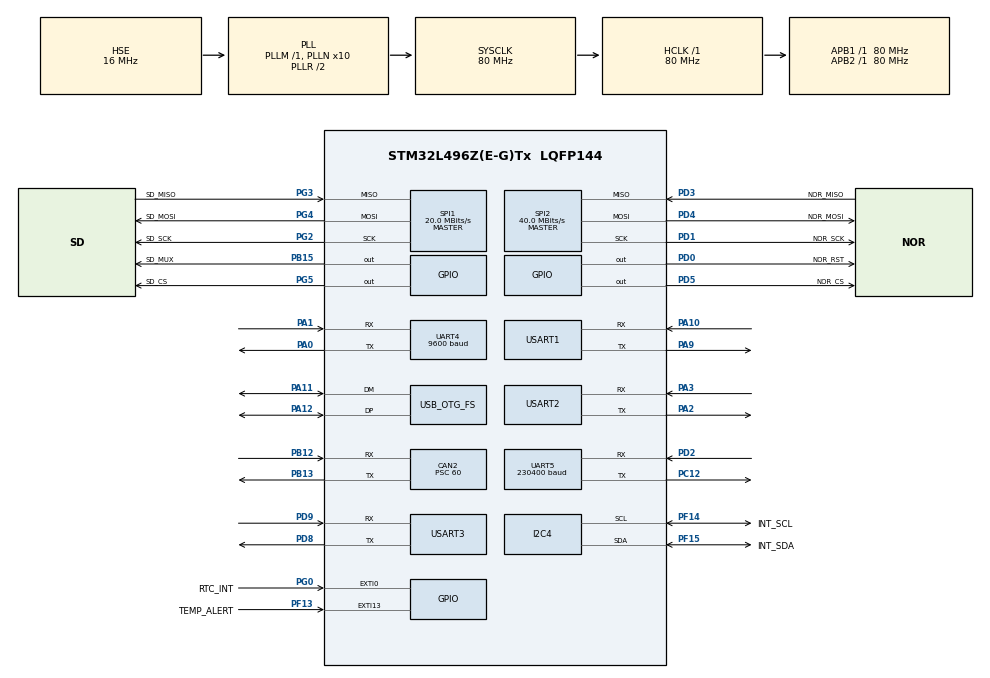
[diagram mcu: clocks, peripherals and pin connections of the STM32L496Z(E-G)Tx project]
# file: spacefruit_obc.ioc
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CAN2.BS1=CAN_BS1_2TQ
CAN2.BS2=CAN_BS2_2TQ
CAN2.CalculateBaudRate=266666
CAN2.CalculateTimeBit=3750
CAN2.CalculateTimeQuantum=750.0
CAN2.Prescaler=60
CAN2.SJW=CAN_SJW_1TQ
CAN2.TTCM=DISABLE
Dma.Request0=SPI1_RX
Dma.Request1=SPI1_TX
Dma.Request2=SPI2_RX
Dma.Request3=SPI2_TX
Dma.Request4=UART4_RX
Dma.SPI1_RX.0.Direction=DMA_PERIPH_TO_MEMORY
Dma.SPI1_RX.0.Instance=DMA1_Channel2
Dma.SPI1_RX.0.MemDataAlignment=DMA_MDATAALIGN_BYTE
Dma.SPI1_RX.0.MemInc=DMA_MINC_ENABLE
Dma.SPI1_RX.0.Mode=DMA_NORMAL
Dma.SPI1_RX.0.PeriphDataAlignment=DMA_PDATAALIGN_BYTE
Dma.SPI1_RX.0.PeriphInc=DMA_PINC_DISABLE
Dma.SPI1_RX.0.Priority=DMA_PRIORITY_LOW
Dma.SPI1_TX.1.Direction=DMA_MEMORY_TO_PERIPH
Dma.SPI1_TX.1.Instance=DMA1_Channel3
Dma.SPI1_TX.1.MemDataAlignment=DMA_MDATAALIGN_BYTE
Dma.SPI1_TX.1.MemInc=DMA_MINC_ENABLE
Dma.SPI1_TX.1.Mode=DMA_NORMAL
Dma.SPI1_TX.1.PeriphDataAlignment=DMA_PDATAALIGN_BYTE
Dma.SPI1_TX.1.PeriphInc=DMA_PINC_DISABLE
Dma.SPI1_TX.1.Priority=DMA_PRIORITY_LOW
Dma.SPI2_RX.2.Direction=DMA_PERIPH_TO_MEMORY
Dma.SPI2_RX.2.Instance=DMA1_Channel4
Dma.SPI2_RX.2.MemDataAlignment=DMA_MDATAALIGN_BYTE
Dma.SPI2_RX.2.MemInc=DMA_MINC_ENABLE
Dma.SPI2_RX.2.Mode=DMA_NORMAL
Dma.SPI2_RX.2.PeriphDataAlignment=DMA_PDATAALIGN_BYTE
Dma.SPI2_RX.2.PeriphInc=DMA_PINC_DISABLE
Dma.SPI2_RX.2.Priority=DMA_PRIORITY_LOW
Dma.SPI2_TX.3.Direction=DMA_MEMORY_TO_PERIPH
Dma.SPI2_TX.3.Instance=DMA1_Channel5
Dma.SPI2_TX.3.MemDataAlignment=DMA_MDATAALIGN_BYTE
Dma.SPI2_TX.3.MemInc=DMA_MINC_ENABLE
Dma.SPI2_TX.3.Mode=DMA_NORMAL
Dma.SPI2_TX.3.PeriphDataAlignment=DMA_PDATAALIGN_BYTE
Dma.SPI2_TX.3.PeriphInc=DMA_PINC_DISABLE
Dma.SPI2_TX.3.Priority=DMA_PRIORITY_LOW
Dma.UART4_RX.4.Direction=DMA_PERIPH_TO_MEMORY
Dma.UART4_RX.4.Instance=DMA2_Channel5
Dma.UART4_RX.4.MemDataAlignment=DMA_MDATAALIGN_BYTE
Dma.UART4_RX.4.MemInc=DMA_MINC_ENABLE
Dma.UART4_RX.4.Mode=DMA_NORMAL
Dma.UART4_RX.4.PeriphDataAlignment=DMA_PDATAALIGN_BYTE
Dma.UART4_RX.4.PeriphInc=DMA_PINC_DISABLE
Dma.UART4_RX.4.Priority=DMA_PRIORITY_LOW
FATFS._USE_LABEL=1
FATFS._USE_LFN=3
FREERTOS.Events01=epsFlag,Dynamic,NULL
FREERTOS.Mutexes01=sensorsMutex,Dynamic,NULL,Available
FREERTOS.Queues01=cdcDataQueue,128,usb_data_t,0,Static,cdcDataQueueBuffer,cdcDataQueueControlBlock;epsUartQueue,16,uint16_t,0,Dynamic,NULL,NULL;printQueue,256,uint8_t,0,Dynamic,NULL,NULL
FREERTOS.Tasks01=MainTask,24,8192,mainTask,Default,NULL,Dynamic,NULL,NULL;USBTask,48,4096,usbTask,Default,NULL,Dynamic,NULL,NULL;wdtFeed,48,128,wdtFeedTask,Default,NULL,Dynamic,NULL,NULL;sensorQuery,24,512,sensorQueryTask,Default,NULL,Dynamic,NULL,NULL;printTask,32,256,logTask,Default,NULL,Dynamic,NULL,NULL;uartRxTask,39,512,uartRx,Default,NULL,Dynamic,NULL,NULL
FREERTOS.configTOTAL_HEAP_SIZE=64000
I2C4.Timing=0x10D19CE4
IWDG.Prescaler=IWDG_PRESCALER_128
IWDG.Reload=120
Mcu.Family=STM32L4
Mcu.Name=STM32L496Z(E-G)Tx
Mcu.Package=LQFP144
NVIC.DMA1_Channel2_IRQn=true\:5\:0\:false\:false\:true\:true\:false\:true\:true
NVIC.DMA1_Channel3_IRQn=true\:5\:0\:false\:false\:true\:true\:false\:true\:true
NVIC.DMA1_Channel4_IRQn=true\:5\:0\:false\:false\:true\:true\:false\:true\:true
NVIC.DMA1_Channel5_IRQn=true\:5\:0\:false\:false\:true\:true\:false\:true\:true
NVIC.DMA2_Channel5_IRQn=true\:5\:0\:false\:false\:true\:true\:false\:true\:true
NVIC.OTG_FS_IRQn=true\:5\:0\:false\:false\:true\:true\:false\:true\:true
NVIC.PriorityGroup=NVIC_PRIORITYGROUP_4
NVIC.SPI1_IRQn=true\:5\:0\:false\:false\:true\:true\:true\:true\:true
NVIC.SPI2_IRQn=true\:5\:0\:false\:false\:true\:true\:true\:true\:true
NVIC.TIM1_UP_TIM16_IRQn=true\:15\:0\:false\:false\:true\:false\:false\:true\:true
NVIC.TimeBase=TIM1_UP_TIM16_IRQn
NVIC.TimeBaseIP=TIM1
NVIC.UART4_IRQn=true\:5\:0\:false\:false\:true\:true\:true\:true\:true
NVIC.USART2_IRQn=true\:5\:0\:false\:false\:true\:true\:true\:true\:true
PA0.Mode=Asynchronous
PA0.Signal=UART4_TX
PA1.Mode=Asynchronous
PA1.Signal=UART4_RX
PA10.Mode=Asynchronous
PA10.Signal=USART1_RX
PA11.Mode=Device_Only
PA11.Signal=USB_OTG_FS_DM
PA12.Mode=Device_Only
PA12.Signal=USB_OTG_FS_DP
PA13\ (JTMS/SWDIO).Mode=Serial_Wire
PA13\ (JTMS/SWDIO).Signal=SYS_JTMS-SWDIO
PA14\ (JTCK/SWCLK).Mode=Serial_Wire
PA14\ (JTCK/SWCLK).Signal=SYS_JTCK-SWCLK
PA2.Mode=Asynchronous
PA2.Signal=USART2_TX
PA3.Mode=Asynchronous
PA3.Signal=USART2_RX
PA9.Mode=Asynchronous
PA9.Signal=USART1_TX
PB12.Mode=CAN_Activate
PB12.Signal=CAN2_RX
PB13.Mode=CAN_Activate
PB13.Signal=CAN2_TX
PB15.GPIO_Label=SD_MUX
PB15.Signal=GPIO_Output
PC12.Mode=Asynchronous
PC12.Signal=UART5_TX
PC14-OSC32_IN\ (PC14).Mode=LSE-External-Oscillator
PC14-OSC32_IN\ (PC14).Signal=RCC_OSC32_IN
PC15-OSC32_OUT\ (PC15).Mode=LSE-External-Oscillator
PC15-OSC32_OUT\ (PC15).Signal=RCC_OSC32_OUT
PD0.GPIO_Label=NOR_RST
PD0.PinState=GPIO_PIN_SET
PD0.Signal=GPIO_Output
PD1.GPIO_Label=NOR_SCK
PD1.Mode=Full_Duplex_Master
PD1.Signal=SPI2_SCK
PD2.Mode=Asynchronous
PD2.Signal=UART5_RX
PD3.GPIO_Label=NOR_MISO
PD3.Mode=Full_Duplex_Master
PD3.Signal=SPI2_MISO
PD4.GPIO_Label=NOR_MOSI
PD4.Mode=Full_Duplex_Master
PD4.Signal=SPI2_MOSI
PD5.GPIO_Label=NOR_CS
PD5.PinState=GPIO_PIN_SET
PD5.Signal=GPIO_Output
PD8.Mode=Asynchronous
PD8.Signal=USART3_TX
PD9.Mode=Asynchronous
PD9.Signal=USART3_RX
PF13.GPIO_Label=TEMP_ALERT
PF13.Signal=GPXTI13
PF14.GPIO_Label=INT_SCL
PF14.Mode=I2C
PF14.Signal=I2C4_SCL
PF15.GPIO_Label=INT_SDA
PF15.Mode=I2C
PF15.Signal=I2C4_SDA
PG0.GPIO_Label=RTC_INT
PG0.Signal=GPXTI0
PG2.GPIO_Label=SD_SCK
PG2.Mode=Full_Duplex_Master
PG2.Signal=SPI1_SCK
PG3.GPIO_Label=SD_MISO
PG3.Mode=Full_Duplex_Master
PG3.Signal=SPI1_MISO
PG4.GPIO_Label=SD_MOSI
PG4.Mode=Full_Duplex_Master
PG4.Signal=SPI1_MOSI
PG5.GPIO_Label=SD_CS
PG5.GPIO_Speed=GPIO_SPEED_FREQ_HIGH
PG5.PinState=GPIO_PIN_SET
PG5.Signal=GPIO_Output
PH0-OSC_IN\ (PH0).Mode=HSE-External-Oscillator
PH0-OSC_IN\ (PH0).Signal=RCC_OSC_IN
PH1-OSC_OUT\ (PH1).Mode=HSE-External-Oscillator
PH1-OSC_OUT\ (PH1).Signal=RCC_OSC_OUT
ProjectManager.HeapSize=0x200
ProjectManager.StackSize=0x400
ProjectManager.TargetToolchain=Makefile
RCC.ADCFreq_Value=96000000
RCC.AHBFreq_Value=80000000
RCC.APB1Freq_Value=80000000
RCC.APB1TimFreq_Value=80000000
RCC.APB2Freq_Value=80000000
RCC.APB2TimFreq_Value=80000000
RCC.CortexFreq_Value=80000000
RCC.HCLKFreq_Value=80000000
RCC.HSE_VALUE=16000000
RCC.HSI48_VALUE=48000000
RCC.HSI_VALUE=16000000
RCC.MSI_VALUE=4000000
RCC.PLLN=10
RCC.PLLSAI1N=12
RCC.PLLSAI1Q=RCC_PLLQ_DIV4
RCC.PLLSourceVirtual=RCC_PLLSOURCE_HSE
RCC.SYSCLKFreq_VALUE=80000000
RCC.SYSCLKSource=RCC_SYSCLKSOURCE_PLLCLK
RCC.USBFreq_Value=48000000
RCC.VCOOutputFreq_Value=160000000
RTC.Format=RTC_FORMAT_BIN
SPI1.BaudRatePrescaler=SPI_BAUDRATEPRESCALER_4
SPI1.CalculateBaudRate=20.0 MBits/s
SPI1.DataSize=SPI_DATASIZE_8BIT
SPI1.Direction=SPI_DIRECTION_2LINES
SPI1.Mode=SPI_MODE_MASTER
SPI1.VirtualType=VM_MASTER
SPI2.BaudRatePrescaler=SPI_BAUDRATEPRESCALER_2
SPI2.CalculateBaudRate=40.0 MBits/s
SPI2.DataSize=SPI_DATASIZE_8BIT
SPI2.Direction=SPI_DIRECTION_2LINES
SPI2.Mode=SPI_MODE_MASTER
SPI2.VirtualType=VM_MASTER
UART4.BaudRate=9600
UART5.BaudRate=230400
USART1.VirtualMode-Asynchronous=VM_ASYNC
USART2.VirtualMode-Asynchronous=VM_ASYNC
USART3.VirtualMode-Asynchronous=VM_ASYNC
USB_DEVICE.CLASS_NAME_FS=CDC
USB_DEVICE.CONFIGURATION_STRING_CDC_FS=OBC CDC Config
USB_DEVICE.INTERFACE_STRING_CDC_FS=OBC CDC Interface
USB_DEVICE.MANUFACTURER_STRING=Openfruit Aerospace
USB_DEVICE.PID_CDC_FS=0x0BC1
USB_DEVICE.PRODUCT_STRING_CDC_FS=OBC VCP
USB_DEVICE.VID=0xF055
USB_DEVICE.VirtualMode=Cdc
USB_DEVICE.VirtualModeFS=Cdc_FS
USB_OTG_FS.VirtualMode=Device_Only
VP_CRC_VS_CRC.Mode=CRC_Activate
VP_FATFS_VS_Generic.Mode=User_defined
VP_FREERTOS_VS_CMSIS_V2.Mode=CMSIS_V2
VP_IWDG_VS_IWDG.Mode=IWDG_Activate
VP_RTC_VS_RTC_Activate.Mode=RTC_Enabled
VP_RTC_VS_RTC_Calendar.Mode=RTC_Calendar
VP_SYS_VS_tim1.Mode=TIM1
VP_USB_DEVICE_VS_USB_DEVICE_CDC_FS.Mode=CDC_FS
board=custom

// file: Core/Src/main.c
/* USER CODE BEGIN Header */
/**
 ******************************************************************************
 * @file           : main.c
 * @brief          : Main program body
 ******************************************************************************
 * @attention
 *
 * Copyright (c) 2026 STMicroelectronics.
 * All rights reserved.
 *
 * This software is licensed under terms that can be found in the LICENSE file
 * in the root directory of this software component.
 * If no LICENSE file comes with this software, it is provided AS-IS.
 *
 ******************************************************************************
 */
/* USER CODE END Header */
#include "main.h"
#include "cmsis_os.h"
#include "fatfs.h"
#include "usb_device.h"

/* USER CODE BEGIN Includes */
#include "tasks/task_shared.h"
#include "tasks/task_main.h"
#include "tasks/task_sensors.h"
#include "tasks/task_comms.h"
#include "tasks/task_usb.h"
#include "tasks/task_log.h"
#include "tasks/task_wdtfeed.h"
#include "usbd_cdc_if.h"
#include "mt25ql.h"
#include "rv3028c7.h"
#include "tmp1075.h"
#include "littlefs_port.h"
#include "kiss_utils.h"
#include "obc_helper.h"
#include "eps_protocol.h"
#include "sd_spi.h"
#include "kiss_protocol.h"
#include "protocol_utils.h"
#include "commu_helper.h"
#include "time.h"
#include "payload_protocol.h"
/* USER CODE END Includes */

typedef StaticQueue_t osStaticMessageQDef_t;
/* USER CODE BEGIN PTD */

usb_data_t usb_buff = {
    .is_new_message = 0,
    .len = 0,
};

obc_sensor_data_t obc_sensors_data;
eps_sensor_data_t eps_sensors_data;

/* USER CODE END PTD */

/* USER CODE BEGIN PD */
#define EPS_RECV_LEN 64 // Increased size for safety
#define PUTCHAR_PROTOTYPE int __io_putchar(int ch)
/* USER CODE END PD */

CAN_HandleTypeDef hcan2;

CRC_HandleTypeDef hcrc;

I2C_HandleTypeDef hi2c4;

IWDG_HandleTypeDef hiwdg;

RTC_HandleTypeDef hrtc;

SPI_HandleTypeDef hspi1;
SPI_HandleTypeDef hspi2;
DMA_HandleTypeDef hdma_spi1_rx;
DMA_HandleTypeDef hdma_spi1_tx;
DMA_HandleTypeDef hdma_spi2_rx;
DMA_HandleTypeDef hdma_spi2_tx;

UART_HandleTypeDef huart4;
UART_HandleTypeDef huart5;
UART_HandleTypeDef huart1;
UART_HandleTypeDef huart2;
UART_HandleTypeDef huart3;
DMA_HandleTypeDef hdma_uart4_rx;

/* Definitions for MainTask */
osThreadId_t MainTaskHandle;
const osThreadAttr_t MainTask_attributes = {
  .name = "MainTask",
  .stack_size = 8192 * 4,
  .priority = (osPriority_t) osPriorityNormal,
};
/* Definitions for USBTask */
osThreadId_t USBTaskHandle;
const osThreadAttr_t USBTask_attributes = {
  .name = "USBTask",
  .stack_size = 4096 * 4,
  .priority = (osPriority_t) osPriorityRealtime,
};
/* Definitions for wdtFeed */
osThreadId_t wdtFeedHandle;
const osThreadAttr_t wdtFeed_attributes = {
  .name = "wdtFeed",
  .stack_size = 128 * 4,
  .priority = (osPriority_t) osPriorityRealtime,
};
/* Definitions for sensorQuery */
osThreadId_t sensorQueryHandle;
const osThreadAttr_t sensorQuery_attributes = {
  .name = "sensorQuery",
  .stack_size = 512 * 4,
  .priority = (osPriority_t) osPriorityNormal,
};
/* Definitions for printTask */
osThreadId_t printTaskHandle;
const osThreadAttr_t printTask_attributes = {
  .name = "printTask",
  .stack_size = 256 * 4,
  .priority = (osPriority_t) osPriorityAboveNormal,
};
/* Definitions for uartRxTask */
osThreadId_t uartRxTaskHandle;
const osThreadAttr_t uartRxTask_attributes = {
  .name = "uartRxTask",
  .stack_size = 512 * 4,
  .priority = (osPriority_t) osPriorityAboveNormal7,
};
/* Definitions for cdcDataQueue */
osMessageQueueId_t cdcDataQueueHandle;
uint8_t cdcDataQueueBuffer[ 128 * sizeof( usb_data_t ) ];
osStaticMessageQDef_t cdcDataQueueControlBlock;
const osMessageQueueAttr_t cdcDataQueue_attributes = {
  .name = "cdcDataQueue",
  .cb_mem = &cdcDataQueueControlBlock,
  .cb_size = sizeof(cdcDataQueueControlBlock),
  .mq_mem = &cdcDataQueueBuffer,
  .mq_size = sizeof(cdcDataQueueBuffer)
};
/* Definitions for epsUartQueue */
osMessageQueueId_t epsUartQueueHandle;
const osMessageQueueAttr_t epsUartQueue_attributes = {
  .name = "epsUartQueue"
};
/* Definitions for printQueue */
osMessageQueueId_t printQueueHandle;
const osMessageQueueAttr_t printQueue_attributes = {
  .name = "printQueue"
};
/* Definitions for sensorsMutex */
osMutexId_t sensorsMutexHandle;
const osMutexAttr_t sensorsMutex_attributes = {
  .name = "sensorsMutex"
};
/* Definitions for epsFlag */
osEventFlagsId_t epsFlagHandle;
const osEventFlagsAttr_t epsFlag_attributes = {
  .name = "epsFlag"
};
/* USER CODE BEGIN PV */
osMutexId_t printfMutexHandle;
const osMutexAttr_t printfMutex_attributes = {
  .name = "printfMutex"
};

const uint32_t COMMU_RX_TIMEOUT = 3000;

osEventFlagsId_t systemStateFlagHandle;
const osEventFlagsAttr_t systemStateFlag_attr = {
  .name = "systemStateFlag"
};

uint8_t eps_state = EPS_DATA_NO_DATA;

osEventFlagsId_t payloadFlagHandle;
const osEventFlagsAttr_t payloadFlag_attr = {
  .name = "payloadFlag"
};

uint8_t kiss_buffer[512];
kiss_frame_t payload_kiss;

osSemaphoreId_t norSemaphoreHandle;
const osSemaphoreAttr_t norSemaphoreAttr = {
  .name = "norFlashSemaphore"
};

osSemaphoreId_t epsSemaphoreHandle;
const osSemaphoreAttr_t epsSemaphoreAttr = {
  .name = "epsSemaphore"
};

osSemaphoreId_t sdTxSemaphoreHandle;
osSemaphoreId_t sdRxSemaphoreHandle;

const osSemaphoreAttr_t sdRxSemaphoreAttr = {
  .name = "sdRxSemaphore"
};
const osSemaphoreAttr_t sdTxSemaphoreAttr = {
  .name = "sdTxSemaphore"
};

osMessageQueueId_t payloadStatueQueueHandle;
const osMessageQueueAttr_t payloadStatueQueue_attributes = {
  .name = "payloadStatueQueue"
};

// usb_data_t usb_buff;

/* USER CODE END PV */

void SystemClock_Config(void);
static void MX_GPIO_Init(void);
static void MX_DMA_Init(void);
static void MX_SPI1_Init(void);
static void MX_UART4_Init(void);
static void MX_USART1_UART_Init(void);
static void MX_USART2_UART_Init(void);
static void MX_USART3_UART_Init(void);
static void MX_SPI2_Init(void);
static void MX_CAN2_Init(void);
static void MX_I2C4_Init(void);
static void MX_CRC_Init(void);
static void MX_IWDG_Init(void);
static void MX_RTC_Init(void);
static void MX_UART5_Init(void);
void mainTask(void *argument);
void usbTask(void *argument);
void wdtFeedTask(void *argument);
void sensorQueryTask(void *argument);
void logTask(void *argument);
void uartRx(void *argument);

int main(void)
{

  /* MCU Configuration--------------------------------------------------------*/

  /* Reset of all peripherals, Initializes the Flash interface and the Systick. */
  HAL_Init();

  /* Configure the system clock */
  SystemClock_Config();

  /* Initialize all configured peripherals */
  MX_GPIO_Init();
  MX_DMA_Init();
  MX_SPI1_Init();
  MX_UART4_Init();
  MX_USART1_UART_Init();
  MX_USART2_UART_Init();
  MX_USART3_UART_Init();
  MX_SPI2_Init();
  MX_CAN2_Init();
  MX_I2C4_Init();
  MX_CRC_Init();
  MX_IWDG_Init();
  MX_FATFS_Init();
  MX_RTC_Init();
  MX_UART5_Init();
  /* USER CODE BEGIN 2 */
  commu_init();
  eps_init();
  // HAL_CAN_Start(&hcan2);

  // rv3028c7_set_hour(&rtc,8);
  payload_kiss.content = kiss_buffer;

  /* USER CODE END 2 */

  /* Init scheduler */
  osKernelInitialize();
  /* Create the mutex(es) */
  /* creation of sensorsMutex */
  sensorsMutexHandle = osMutexNew(&sensorsMutex_attributes);

  /* USER CODE BEGIN RTOS_MUTEX */
  printfMutexHandle = osMutexNew(&printfMutex_attributes);
  /* add mutexes, ... */
  /* USER CODE END RTOS_MUTEX */

  /* USER CODE BEGIN RTOS_SEMAPHORES */
  /* add semaphores, ... */
  sdTxSemaphoreHandle = osSemaphoreNew(1,0,&sdTxSemaphoreAttr);
  sdRxSemaphoreHandle = osSemaphoreNew(1,0,&sdRxSemaphoreAttr);
  norSemaphoreHandle = osSemaphoreNew(1,0,&norSemaphoreAttr);
  epsSemaphoreHandle = osSemaphoreNew(1,0,&epsSemaphoreAttr);
  /* USER CODE END RTOS_SEMAPHORES */

  /* Create the queue(s) */
  /* creation of cdcDataQueue */
  cdcDataQueueHandle = osMessageQueueNew (128, sizeof(usb_data_t), &cdcDataQueue_attributes);

  /* creation of epsUartQueue */
  epsUartQueueHandle = osMessageQueueNew (16, sizeof(uint16_t), &epsUartQueue_attributes);

  /* creation of printQueue */
  printQueueHandle = osMessageQueueNew (256, sizeof(uint8_t), &printQueue_attributes);

  /* USER CODE BEGIN RTOS_QUEUES */
  payloadStatueQueueHandle = osMessageQueueNew (10, sizeof(uint8_t) * 24, &payloadStatueQueue_attributes);
  /* add queues, ... */
  /* USER CODE END RTOS_QUEUES */

  /* Create the thread(s) */
  /* creation of MainTask */
  MainTaskHandle = osThreadNew(mainTask, NULL, &MainTask_attributes);

  /* creation of USBTask */
  USBTaskHandle = osThreadNew(usbTask, NULL, &USBTask_attributes);

  /* creation of wdtFeed */
  wdtFeedHandle = osThreadNew(wdtFeedTask, NULL, &wdtFeed_attributes);

  /* creation of sensorQuery */
  sensorQueryHandle = osThreadNew(sensorQueryTask, NULL, &sensorQuery_attributes);

  /* creation of printTask */
  printTaskHandle = osThreadNew(logTask, NULL, &printTask_attributes);

  /* creation of uartRxTask */
  uartRxTaskHandle = osThreadNew(uartRx, NULL, &uartRxTask_attributes);

  /* creation of epsFlag */
  epsFlagHandle = osEventFlagsNew(&epsFlag_attributes);

  /* USER CODE BEGIN RTOS_EVENTS */
  payloadFlagHandle = osEventFlagsNew(&payloadFlag_attr);
  systemStateFlagHandle = osEventFlagsNew(&systemStateFlag_attr);
  /* add events, ... */
  /* USER CODE END RTOS_EVENTS */

  /* Start scheduler */
  osKernelStart();

  /* We should never get here as control is now taken by the scheduler */

  /* Infinite loop */
  while (1)
  {

  }
}

void SystemClock_Config(void)
{
  RCC_OscInitTypeDef RCC_OscInitStruct = {0};
  RCC_ClkInitTypeDef RCC_ClkInitStruct = {0};

  /** Configure the main internal regulator output voltage
  */
  if (HAL_PWREx_ControlVoltageScaling(PWR_REGULATOR_VOLTAGE_SCALE1) != HAL_OK)
  {
    Error_Handler();
  }

  /** Initializes the RCC Oscillators according to the specified parameters
  * in the RCC_OscInitTypeDef structure.
  */
  RCC_OscInitStruct.OscillatorType = RCC_OSCILLATORTYPE_LSI|RCC_OSCILLATORTYPE_HSE;
  RCC_OscInitStruct.HSEState = RCC_HSE_ON;
  RCC_OscInitStruct.LSIState = RCC_LSI_ON;
  RCC_OscInitStruct.PLL.PLLState = RCC_PLL_ON;
  RCC_OscInitStruct.PLL.PLLSource = RCC_PLLSOURCE_HSE;
  RCC_OscInitStruct.PLL.PLLM = 1;
  RCC_OscInitStruct.PLL.PLLN = 10;
  RCC_OscInitStruct.PLL.PLLP = RCC_PLLP_DIV2;
  RCC_OscInitStruct.PLL.PLLQ = RCC_PLLQ_DIV2;
  RCC_OscInitStruct.PLL.PLLR = RCC_PLLR_DIV2;
  if (HAL_RCC_OscConfig(&RCC_OscInitStruct) != HAL_OK)
  {
    Error_Handler();
  }

  /** Initializes the CPU, AHB and APB buses clocks
  */
  RCC_ClkInitStruct.ClockType = RCC_CLOCKTYPE_HCLK|RCC_CLOCKTYPE_SYSCLK
                              |RCC_CLOCKTYPE_PCLK1|RCC_CLOCKTYPE_PCLK2;
  RCC_ClkInitStruct.SYSCLKSource = RCC_SYSCLKSOURCE_PLLCLK;
  RCC_ClkInitStruct.AHBCLKDivider = RCC_SYSCLK_DIV1;
  RCC_ClkInitStruct.APB1CLKDivider = RCC_HCLK_DIV1;
  RCC_ClkInitStruct.APB2CLKDivider = RCC_HCLK_DIV1;

  if (HAL_RCC_ClockConfig(&RCC_ClkInitStruct, FLASH_LATENCY_4) != HAL_OK)
  {
    Error_Handler();
  }
}

static void MX_CAN2_Init(void)
{

  hcan2.Instance = CAN2;
  hcan2.Init.Prescaler = 60;
  hcan2.Init.Mode = CAN_MODE_NORMAL;
  hcan2.Init.SyncJumpWidth = CAN_SJW_1TQ;
  hcan2.Init.TimeSeg1 = CAN_BS1_2TQ;
  hcan2.Init.TimeSeg2 = CAN_BS2_2TQ;
  hcan2.Init.TimeTriggeredMode = DISABLE;
  hcan2.Init.AutoBusOff = DISABLE;
  hcan2.Init.AutoWakeUp = DISABLE;
  hcan2.Init.AutoRetransmission = DISABLE;
  hcan2.Init.ReceiveFifoLocked = DISABLE;
  hcan2.Init.TransmitFifoPriority = DISABLE;
  if (HAL_CAN_Init(&hcan2) != HAL_OK)
  {
    Error_Handler();
  }

}

static void MX_CRC_Init(void)
{

  hcrc.Instance = CRC;
  hcrc.Init.DefaultPolynomialUse = DEFAULT_POLYNOMIAL_ENABLE;
  hcrc.Init.DefaultInitValueUse = DEFAULT_INIT_VALUE_ENABLE;
  hcrc.Init.InputDataInversionMode = CRC_INPUTDATA_INVERSION_NONE;
  hcrc.Init.OutputDataInversionMode = CRC_OUTPUTDATA_INVERSION_DISABLE;
  hcrc.InputDataFormat = CRC_INPUTDATA_FORMAT_BYTES;
  if (HAL_CRC_Init(&hcrc) != HAL_OK)
  {
    Error_Handler();
  }

}

static void MX_I2C4_Init(void)
{

  hi2c4.Instance = I2C4;
  hi2c4.Init.Timing = 0x10D19CE4;
  hi2c4.Init.OwnAddress1 = 0;
  hi2c4.Init.AddressingMode = I2C_ADDRESSINGMODE_7BIT;
  hi2c4.Init.DualAddressMode = I2C_DUALADDRESS_DISABLE;
  hi2c4.Init.OwnAddress2 = 0;
  hi2c4.Init.OwnAddress2Masks = I2C_OA2_NOMASK;
  hi2c4.Init.GeneralCallMode = I2C_GENERALCALL_DISABLE;
  hi2c4.Init.NoStretchMode = I2C_NOSTRETCH_DISABLE;
  if (HAL_I2C_Init(&hi2c4) != HAL_OK)
  {
    Error_Handler();
  }

  /** Configure Analogue filter
  */
  if (HAL_I2CEx_ConfigAnalogFilter(&hi2c4, I2C_ANALOGFILTER_ENABLE) != HAL_OK)
  {
    Error_Handler();
  }

  /** Configure Digital filter
  */
  if (HAL_I2CEx_ConfigDigitalFilter(&hi2c4, 0) != HAL_OK)
  {
    Error_Handler();
  }

}

static void MX_IWDG_Init(void)
{

  hiwdg.Instance = IWDG;
  hiwdg.Init.Prescaler = IWDG_PRESCALER_128;
  hiwdg.Init.Window = 4095;
  hiwdg.Init.Reload = 120;
  if (HAL_IWDG_Init(&hiwdg) != HAL_OK)
  {
    Error_Handler();
  }

}

static void MX_RTC_Init(void)
{

  RTC_TimeTypeDef sTime = {0};
  RTC_DateTypeDef sDate = {0};

  /** Initialize RTC Only
  */
  hrtc.Instance = RTC;
  hrtc.Init.HourFormat = RTC_HOURFORMAT_24;
  hrtc.Init.AsynchPrediv = 127;
  hrtc.Init.SynchPrediv = 255;
  hrtc.Init.OutPut = RTC_OUTPUT_DISABLE;
  hrtc.Init.OutPutRemap = RTC_OUTPUT_REMAP_NONE;
  hrtc.Init.OutPutPolarity = RTC_OUTPUT_POLARITY_HIGH;
  hrtc.Init.OutPutType = RTC_OUTPUT_TYPE_OPENDRAIN;
  if (HAL_RTC_Init(&hrtc) != HAL_OK)
  {
    Error_Handler();
  }

  /** Initialize RTC and set the Time and Date
  */
  sTime.Hours = 0;
  sTime.Minutes = 0;
  sTime.Seconds = 0;
  sTime.DayLightSaving = RTC_DAYLIGHTSAVING_NONE;
  sTime.StoreOperation = RTC_STOREOPERATION_RESET;
  if (HAL_RTC_SetTime(&hrtc, &sTime, RTC_FORMAT_BIN) != HAL_OK)
  {
    Error_Handler();
  }
  sDate.WeekDay = RTC_WEEKDAY_MONDAY;
  sDate.Month = RTC_MONTH_JANUARY;
  sDate.Date = 1;
  sDate.Year = 0;

  if (HAL_RTC_SetDate(&hrtc, &sDate, RTC_FORMAT_BIN) != HAL_OK)
  {
    Error_Handler();
  }

}

static void MX_SPI1_Init(void)
{

  /* SPI1 parameter configuration*/
  hspi1.Instance = SPI1;
  hspi1.Init.Mode = SPI_MODE_MASTER;
  hspi1.Init.Direction = SPI_DIRECTION_2LINES;
  hspi1.Init.DataSize = SPI_DATASIZE_8BIT;
  hspi1.Init.CLKPolarity = SPI_POLARITY_LOW;
  hspi1.Init.CLKPhase = SPI_PHASE_1EDGE;
  hspi1.Init.NSS = SPI_NSS_SOFT;
  hspi1.Init.BaudRatePrescaler = SPI_BAUDRATEPRESCALER_4;
  hspi1.Init.FirstBit = SPI_FIRSTBIT_MSB;
  hspi1.Init.TIMode = SPI_TIMODE_DISABLE;
  hspi1.Init.CRCCalculation = SPI_CRCCALCULATION_DISABLE;
  hspi1.Init.CRCPolynomial = 7;
  hspi1.Init.CRCLength = SPI_CRC_LENGTH_DATASIZE;
  hspi1.Init.NSSPMode = SPI_NSS_PULSE_ENABLE;
  if (HAL_SPI_Init(&hspi1) != HAL_OK)
  {
    Error_Handler();
  }

}

static void MX_SPI2_Init(void)
{

  /* SPI2 parameter configuration*/
  hspi2.Instance = SPI2;
  hspi2.Init.Mode = SPI_MODE_MASTER;
  hspi2.Init.Direction = SPI_DIRECTION_2LINES;
  hspi2.Init.DataSize = SPI_DATASIZE_8BIT;
  hspi2.Init.CLKPolarity = SPI_POLARITY_LOW;
  hspi2.Init.CLKPhase = SPI_PHASE_1EDGE;
  hspi2.Init.NSS = SPI_NSS_SOFT;
  hspi2.Init.BaudRatePrescaler = SPI_BAUDRATEPRESCALER_2;
  hspi2.Init.FirstBit = SPI_FIRSTBIT_MSB;
  hspi2.Init.TIMode = SPI_TIMODE_DISABLE;
  hspi2.Init.CRCCalculation = SPI_CRCCALCULATION_DISABLE;
  hspi2.Init.CRCPolynomial = 7;
  hspi2.Init.CRCLength = SPI_CRC_LENGTH_DATASIZE;
  hspi2.Init.NSSPMode = SPI_NSS_PULSE_ENABLE;
  if (HAL_SPI_Init(&hspi2) != HAL_OK)
  {
    Error_Handler();
  }

}

static void MX_UART4_Init(void)
{

  huart4.Instance = UART4;
  huart4.Init.BaudRate = 9600;
  huart4.Init.WordLength = UART_WORDLENGTH_8B;
  huart4.Init.StopBits = UART_STOPBITS_1;
  huart4.Init.Parity = UART_PARITY_NONE;
  huart4.Init.Mode = UART_MODE_TX_RX;
  huart4.Init.HwFlowCtl = UART_HWCONTROL_NONE;
  huart4.Init.OverSampling = UART_OVERSAMPLING_16;
  huart4.Init.OneBitSampling = UART_ONE_BIT_SAMPLE_DISABLE;
  huart4.AdvancedInit.AdvFeatureInit = UART_ADVFEATURE_NO_INIT;
  if (HAL_UART_Init(&huart4) != HAL_OK)
  {
    Error_Handler();
  }

}

static void MX_UART5_Init(void)
{

  huart5.Instance = UART5;
  huart5.Init.BaudRate = 230400;
  huart5.Init.WordLength = UART_WORDLENGTH_8B;
  huart5.Init.StopBits = UART_STOPBITS_1;
  huart5.Init.Parity = UART_PARITY_NONE;
  huart5.Init.Mode = UART_MODE_TX_RX;
  huart5.Init.HwFlowCtl = UART_HWCONTROL_NONE;
  huart5.Init.OverSampling = UART_OVERSAMPLING_16;
  huart5.Init.OneBitSampling = UART_ONE_BIT_SAMPLE_DISABLE;
  huart5.AdvancedInit.AdvFeatureInit = UART_ADVFEATURE_NO_INIT;
  if (HAL_UART_Init(&huart5) != HAL_OK)
  {
    Error_Handler();
  }

}

static void MX_USART1_UART_Init(void)
{

  huart1.Instance = USART1;
  huart1.Init.BaudRate = 115200;
  huart1.Init.WordLength = UART_WORDLENGTH_8B;
  huart1.Init.StopBits = UART_STOPBITS_1;
  huart1.Init.Parity = UART_PARITY_NONE;
  huart1.Init.Mode = UART_MODE_TX_RX;
  huart1.Init.HwFlowCtl = UART_HWCONTROL_NONE;
  huart1.Init.OverSampling = UART_OVERSAMPLING_16;
  huart1.Init.OneBitSampling = UART_ONE_BIT_SAMPLE_DISABLE;
  huart1.AdvancedInit.AdvFeatureInit = UART_ADVFEATURE_NO_INIT;
  if (HAL_UART_Init(&huart1) != HAL_OK)
  {
    Error_Handler();
  }

}

static void MX_USART2_UART_Init(void)
{

  huart2.Instance = USART2;
  huart2.Init.BaudRate = 115200;
  huart2.Init.WordLength = UART_WORDLENGTH_8B;
  huart2.Init.StopBits = UART_STOPBITS_1;
  huart2.Init.Parity = UART_PARITY_NONE;
  huart2.Init.Mode = UART_MODE_TX_RX;
  huart2.Init.HwFlowCtl = UART_HWCONTROL_NONE;
  huart2.Init.OverSampling = UART_OVERSAMPLING_16;
  huart2.Init.OneBitSampling = UART_ONE_BIT_SAMPLE_DISABLE;
  huart2.AdvancedInit.AdvFeatureInit = UART_ADVFEATURE_NO_INIT;
  if (HAL_UART_Init(&huart2) != HAL_OK)
  {
    Error_Handler();
  }

}

static void MX_USART3_UART_Init(void)
{

  huart3.Instance = USART3;
  huart3.Init.BaudRate = 115200;
  huart3.Init.WordLength = UART_WORDLENGTH_8B;
  huart3.Init.StopBits = UART_STOPBITS_1;
  huart3.Init.Parity = UART_PARITY_NONE;
  huart3.Init.Mode = UART_MODE_TX_RX;
  huart3.Init.HwFlowCtl = UART_HWCONTROL_NONE;
  huart3.Init.OverSampling = UART_OVERSAMPLING_16;
  huart3.Init.OneBitSampling = UART_ONE_BIT_SAMPLE_DISABLE;
  huart3.AdvancedInit.AdvFeatureInit = UART_ADVFEATURE_NO_INIT;
  if (HAL_UART_Init(&huart3) != HAL_OK)
  {
    Error_Handler();
  }

}

static void MX_DMA_Init(void)
{

  /* DMA controller clock enable */
  __HAL_RCC_DMA1_CLK_ENABLE();
  __HAL_RCC_DMA2_CLK_ENABLE();

  /* DMA interrupt init */
  /* DMA1_Channel2_IRQn interrupt configuration */
  HAL_NVIC_SetPriority(DMA1_Channel2_IRQn, 5, 0);
  HAL_NVIC_EnableIRQ(DMA1_Channel2_IRQn);
  /* DMA1_Channel3_IRQn interrupt configuration */
  HAL_NVIC_SetPriority(DMA1_Channel3_IRQn, 5, 0);
  HAL_NVIC_EnableIRQ(DMA1_Channel3_IRQn);
  /* DMA1_Channel4_IRQn interrupt configuration */
  HAL_NVIC_SetPriority(DMA1_Channel4_IRQn, 5, 0);
  HAL_NVIC_EnableIRQ(DMA1_Channel4_IRQn);
  /* DMA1_Channel5_IRQn interrupt configuration */
  HAL_NVIC_SetPriority(DMA1_Channel5_IRQn, 5, 0);
  HAL_NVIC_EnableIRQ(DMA1_Channel5_IRQn);
  /* DMA2_Channel5_IRQn interrupt configuration */
  HAL_NVIC_SetPriority(DMA2_Channel5_IRQn, 5, 0);
  HAL_NVIC_EnableIRQ(DMA2_Channel5_IRQn);

}

static void MX_GPIO_Init(void)
{
  GPIO_InitTypeDef GPIO_InitStruct = {0};

  /* GPIO Ports Clock Enable */
  __HAL_RCC_GPIOC_CLK_ENABLE();
  __HAL_RCC_GPIOH_CLK_ENABLE();
  __HAL_RCC_GPIOA_CLK_ENABLE();
  __HAL_RCC_GPIOF_CLK_ENABLE();
  __HAL_RCC_GPIOG_CLK_ENABLE();
  __HAL_RCC_GPIOB_CLK_ENABLE();
  __HAL_RCC_GPIOD_CLK_ENABLE();
  HAL_PWREx_EnableVddIO2();

  /*Configure GPIO pin Output Level */
  HAL_GPIO_WritePin(SD_MUX_GPIO_Port, SD_MUX_Pin, GPIO_PIN_RESET);

  /*Configure GPIO pin Output Level */
  HAL_GPIO_WritePin(SD_CS_GPIO_Port, SD_CS_Pin, GPIO_PIN_SET);

  /*Configure GPIO pin Output Level */
  HAL_GPIO_WritePin(GPIOD, NOR_RST_Pin|NOR_CS_Pin, GPIO_PIN_SET);

  /*Configure GPIO pin : TEMP_ALERT_Pin */
  GPIO_InitStruct.Pin = TEMP_ALERT_Pin;
  GPIO_InitStruct.Mode = GPIO_MODE_IT_RISING;
  GPIO_InitStruct.Pull = GPIO_NOPULL;
  HAL_GPIO_Init(TEMP_ALERT_GPIO_Port, &GPIO_InitStruct);

  /*Configure GPIO pin : RTC_INT_Pin */
  GPIO_InitStruct.Pin = RTC_INT_Pin;
  GPIO_InitStruct.Mode = GPIO_MODE_IT_RISING;
  GPIO_InitStruct.Pull = GPIO_NOPULL;
  HAL_GPIO_Init(RTC_INT_GPIO_Port, &GPIO_InitStruct);

  /*Configure GPIO pin : SD_MUX_Pin */
  GPIO_InitStruct.Pin = SD_MUX_Pin;
  GPIO_InitStruct.Mode = GPIO_MODE_OUTPUT_PP;
  GPIO_InitStruct.Pull = GPIO_NOPULL;
  GPIO_InitStruct.Speed = GPIO_SPEED_FREQ_LOW;
  HAL_GPIO_Init(SD_MUX_GPIO_Port, &GPIO_InitStruct);

  /*Configure GPIO pin : SD_CS_Pin */
  GPIO_InitStruct.Pin = SD_CS_Pin;
  GPIO_InitStruct.Mode = GPIO_MODE_OUTPUT_PP;
  GPIO_InitStruct.Pull = GPIO_NOPULL;
  GPIO_InitStruct.Speed = GPIO_SPEED_FREQ_HIGH;
  HAL_GPIO_Init(SD_CS_GPIO_Port, &GPIO_InitStruct);

  /*Configure GPIO pins : NOR_RST_Pin NOR_CS_Pin */
  GPIO_InitStruct.Pin = NOR_RST_Pin|NOR_CS_Pin;
  GPIO_InitStruct.Mode = GPIO_MODE_OUTPUT_PP;
  GPIO_InitStruct.Pull = GPIO_NOPULL;
  GPIO_InitStruct.Speed = GPIO_SPEED_FREQ_LOW;
  HAL_GPIO_Init(GPIOD, &GPIO_InitStruct);

}

/* USER CODE BEGIN 4 */
extern volatile int dma_tx_done;
extern volatile int dma_rx_done;

/* USER CODE BEGIN 4 */

uint32_t unpack_be32(const uint8_t *buf) {
    return ((uint32_t)buf[0] << 24) |
           ((uint32_t)buf[1] << 16) |
           ((uint32_t)buf[2] << 8)  |
           ((uint32_t)buf[3]);
}

void HAL_SPI_TxCpltCallback(SPI_HandleTypeDef *hspi) {
  if (hspi->Instance == SD_SPI.Instance) {
    osSemaphoreRelease(sdTxSemaphoreHandle);
  }
  else if (hspi->Instance == NOR_SPI.Instance) { // Fixed: == instead of =
    osSemaphoreRelease(norSemaphoreHandle);
  }
}

// ADDED: The missing Receive callback required for HAL_SPI_Receive_DMA
void HAL_SPI_RxCpltCallback(SPI_HandleTypeDef *hspi) {
  if (hspi->Instance == SD_SPI.Instance) {
    osSemaphoreRelease(sdRxSemaphoreHandle);
  }
  else if (hspi->Instance == NOR_SPI.Instance) {
    osSemaphoreRelease(norSemaphoreHandle);
  }
}

void HAL_SPI_TxRxCpltCallback(SPI_HandleTypeDef *hspi) {
  if (hspi->Instance == SD_SPI.Instance) {
    osSemaphoreRelease(sdRxSemaphoreHandle);
  }
  else if (hspi->Instance == NOR_SPI.Instance) { // Fixed: == instead of =
    osSemaphoreRelease(norSemaphoreHandle);
  }
}

/**
 * @brief  Sends a command, waits for response, validates, and decodes it.
 * @param  cmd_buf: Pointer to the KISS command packet to send
 * @param  cmd_len: Length of the command
 * @param  out_buf: Buffer to store the DECODED payload (without KISS bytes)
 * @return uint16_t: Length of decoded payload (0 if failed)
 */
uint16_t EPS_Perform_Transaction(uint8_t* cmd_buf, uint16_t cmd_len, uint8_t* out_buf)
{
    // 1. Clear Queue (Flush old/stale messages so we read the fresh response)
    osMessageQueueReset(epsUartQueueHandle);

    static uint8_t frameRx[128] = {0};

    HAL_StatusTypeDef hal_ret = HAL_UARTEx_ReceiveToIdle_IT(&EPS_UART,frameRx,128);

    if (hal_ret == HAL_BUSY) {
        HAL_UART_AbortReceive(&EPS_UART);
        hal_ret = HAL_UARTEx_ReceiveToIdle_IT(&EPS_UART, frameRx, 128);
    }

    if (hal_ret != HAL_OK) {
        return 0;
    }

    // 2. Transmit Command
    if (HAL_UART_Transmit_IT(&EPS_UART, cmd_buf, cmd_len) != HAL_OK) {
        return 0;
    }

    // 3. Wait for Response (Timeout 500ms)
    uint16_t rx_len;
    osStatus_t status = osMessageQueueGet(epsUartQueueHandle, &rx_len, NULL, EPS_WAIT_TIMTOUT);

    if (status != osOK) {
      // We timed out. The UART is likely still waiting for data.
      // We MUST stop it, otherwise the next call will fail with HAL_BUSY.
      HAL_UART_AbortReceive(&EPS_UART);
      return 0;
    }

    if (status != osOK) return 0; // Timeout

    if (rx_len == 0) return 0;

    // 5. Validate KISS
    if (!KISS_IsFrameComplete(frameRx, rx_len)) {
        return 0;
    }

    // 6. Decode SLIP (Remove Escapes)
    // Returns the length of the clean data
    return KISS_Decode(frameRx, rx_len, out_buf);
}

int _write(int file, char *ptr, int len)
{
    /* If FreeRTOS is running and the mutex is initialized */
    if (osKernelGetState() == osKernelRunning && printfMutexHandle != NULL) {
        /* Check if we are inside an ISR */
        if (__get_IPSR() != 0) {
            /* Inside ISR: Skip mutex, just transmit */
            HAL_UART_Transmit(&huart5, (uint8_t*)ptr, len, 10);
        } else {
            /* Inside Thread: Acquire mutex to prevent mixed up prints */
            osMutexAcquire(printfMutexHandle, osWaitForever);
            HAL_UART_Transmit(&huart5, (uint8_t*)ptr, len, 1000);
            osMutexRelease(printfMutexHandle);
        }
    } else {
        /* Before FreeRTOS starts */
        HAL_UART_Transmit(&huart5, (uint8_t*)ptr, len, 1000);
    }
    return len;
}

void HAL_UARTEx_RxEventCallback(UART_HandleTypeDef *huart, uint16_t Size)
{
    if (huart->Instance == EPS_UART.Instance) {
        osMessageQueuePut(epsUartQueueHandle, (void *)&Size, 0, 0);
    }
    if (huart->Instance == COM_UART.Instance) {
        osMessageQueuePut(communicationUartQueueHandle, &Size, 0, 0);
        // HAL_UARTEx_ReceiveToIdle_IT(&COM_UART, commu_temp_buff, COMMU_RX_SIZE);
        /* Do NOT re-arm here — let the task do it after copying commu_temp_buff */
    }
}

void HAL_UART_RxCpltCallback(UART_HandleTypeDef *huart){
  if (huart == &EPS_UART)
  {
    // uint8_t ready = 1;
    // printf("callback index : %u\r\n",Size);
    // osSemaphoreRelease(epsDataSemHandle);
    // osMessageQueuePut(epsUartQueueHandle, (void *)&ready, 0, 0);
  }

}

/* USER CODE END 4 */

/* USER CODE BEGIN Header_usbTask */
uint8_t  temp_buf[10000];
uint8_t  payload_content[10000];
/**
 * @brief Function implementing the USBTask thread.
 * @param argument: Not used
 * @retval None
 */
/* USER CODE END Header_usbTask */

/* USER CODE BEGIN Header_wdtFeedTask */
/**
//  * @brief Function implementing the wdtFeed thread.
 * @param argument: Not used
 * @retval None
 */
/* USER CODE END Header_wdtFeedTask */

void HAL_TIM_PeriodElapsedCallback(TIM_HandleTypeDef *htim)
{
  if (htim->Instance == TIM1)
  {
    HAL_IncTick();
  }
}

void Error_Handler(void)
{
  __disable_irq();
  while (1)
  {
  }
}
